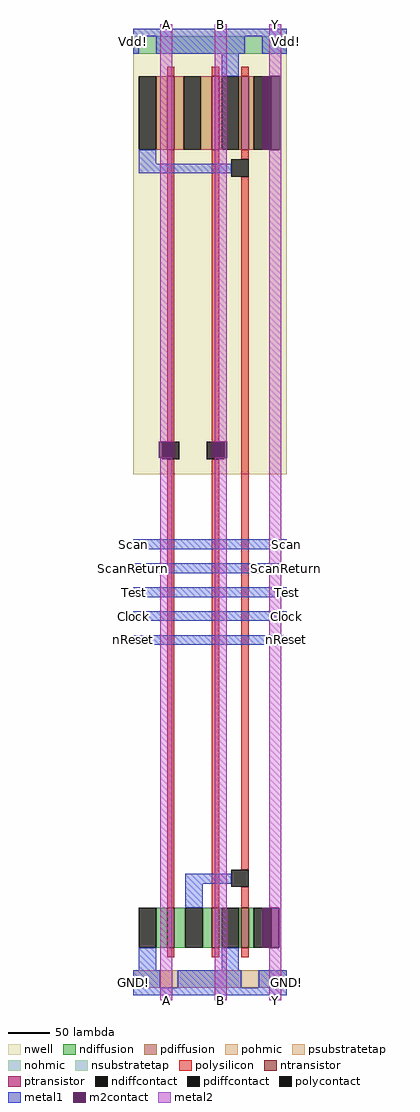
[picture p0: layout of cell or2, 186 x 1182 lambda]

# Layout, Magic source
magic
tech tsmc180
<< nwell >>
rect 0 637 186 1176
<< polysilicon >>
rect 41 1119 50 1130
rect 95 1119 104 1130
rect 131 1119 140 1130
rect 41 676 50 1030
rect 95 676 104 1030
rect 131 1018 140 1030
rect 41 112 50 655
rect 95 112 104 655
rect 131 158 140 997
rect 131 112 140 137
rect 41 52 50 63
rect 95 52 104 63
rect 131 52 140 63
<< ndiffusion >>
rect 28 63 41 112
rect 50 63 63 112
rect 84 63 95 112
rect 104 63 107 112
rect 128 63 131 112
rect 140 63 146 112
<< pdiffusion >>
rect 28 1030 41 1119
rect 50 1030 61 1119
rect 82 1030 95 1119
rect 104 1030 107 1119
rect 128 1030 131 1119
rect 140 1030 146 1119
<< pohmic >>
rect 0 15 33 36
rect 54 15 131 36
rect 152 15 186 36
<< nohmic >>
rect 0 1146 7 1167
rect 28 1146 135 1167
rect 156 1146 186 1167
<< ntransistor >>
rect 41 63 50 112
rect 95 63 104 112
rect 131 63 140 112
<< ptransistor >>
rect 41 1030 50 1119
rect 95 1030 104 1119
rect 131 1030 140 1119
<< polycontact >>
rect 119 997 140 1018
rect 35 655 56 676
rect 89 655 110 676
rect 119 137 140 158
<< ndiffcontact >>
rect 7 63 28 112
rect 63 63 84 112
rect 107 63 128 112
rect 146 63 167 112
<< pdiffcontact >>
rect 7 1030 28 1119
rect 61 1030 82 1119
rect 107 1030 128 1119
rect 146 1030 167 1119
<< psubstratetap >>
rect 33 15 54 36
rect 131 15 152 36
<< nsubstratetap >>
rect 7 1146 28 1167
rect 135 1146 156 1167
<< metal1 >>
rect 0 1167 186 1176
rect 0 1146 7 1167
rect 28 1146 135 1167
rect 156 1146 186 1167
rect 107 1119 128 1146
rect 7 1013 28 1030
rect 7 1001 119 1013
rect 0 546 186 558
rect 0 517 186 529
rect 0 488 186 500
rect 0 459 186 471
rect 0 430 186 442
rect 63 141 119 153
rect 63 112 84 141
rect 7 36 28 63
rect 107 36 128 63
rect 0 15 33 36
rect 54 15 131 36
rect 152 15 186 36
rect 0 6 186 15
<< m2contact >>
rect 157 1030 167 1119
rect 167 1030 178 1119
rect 31 657 35 676
rect 35 657 50 676
rect 95 657 110 676
rect 110 657 114 676
rect 156 63 167 112
rect 167 63 177 112
<< metal2 >>
rect 33 676 47 1182
rect 99 676 113 1182
rect 165 1119 179 1182
rect 178 1030 179 1119
rect 33 0 47 657
rect 99 0 113 657
rect 165 112 179 1030
rect 177 63 179 112
rect 165 0 179 63
<< labels >>
rlabel metal1 0 488 0 500 3 Test
rlabel metal1 0 459 0 471 3 Clock
rlabel metal1 0 430 0 442 3 nReset
rlabel metal1 0 1146 0 1176 3 Vdd!
rlabel metal1 0 517 0 529 3 ScanReturn
rlabel metal1 0 546 0 558 3 Scan
rlabel metal1 0 6 0 36 3 GND!
rlabel metal2 33 0 47 0 1 A
rlabel metal2 33 1182 47 1182 5 A
rlabel metal2 99 0 113 0 1 B
rlabel metal2 99 1182 113 1182 5 B
rlabel metal2 165 0 179 0 1 Y
rlabel metal2 165 1182 179 1182 5 Y
rlabel metal1 186 6 186 36 7 GND!
rlabel metal1 186 1146 186 1176 1 Vdd!
rlabel metal1 186 546 186 558 7 Scan
rlabel metal1 186 517 186 529 7 ScanReturn
rlabel metal1 186 430 186 442 7 nReset
rlabel metal1 186 459 186 471 7 Clock
rlabel metal1 186 488 186 500 7 Test
<< end >>
